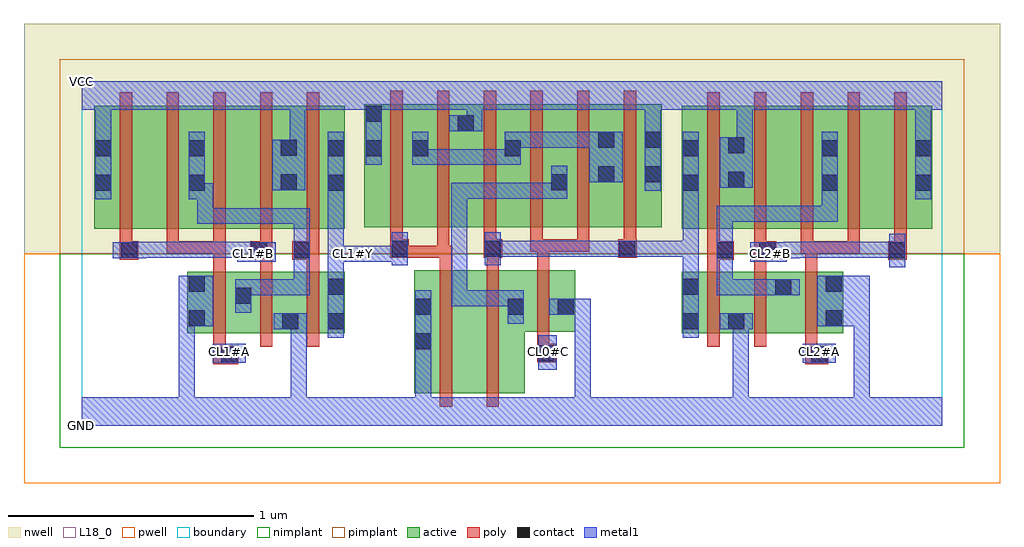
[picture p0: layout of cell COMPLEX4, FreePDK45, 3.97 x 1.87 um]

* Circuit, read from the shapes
.subckt COMPLEX4 CL0#C CL1#A CL1#B CL1#Y CL2#A CL2#B GND VCC
M1 n1 CL1#A GND VSUBS nfet w=0.25u l=0.05u
M2 GND CL1#B n1 VSUBS nfet w=0.25u l=0.05u
M3 CL1#Y n1 GND VSUBS nfet w=0.25u l=0.05u
M4 n2 CL1#Y GND VSUBS nfet w=0.5u l=0.05u
M5 n3 n4 n2 VSUBS nfet w=0.5u l=0.05u
M6 GND CL0#C n3 VSUBS nfet w=0.25u l=0.05u
M7 GND n5 n4 VSUBS nfet w=0.25u l=0.05u
M8 n5 CL2#B GND VSUBS nfet w=0.25u l=0.05u
M9 GND CL2#A n5 VSUBS nfet w=0.25u l=0.05u
M10 n6 CL1#B VCC n7 pfet w=0.5u l=0.05u
M11 n1 CL1#A n6 n7 pfet w=0.5u l=0.05u
M12 n8 CL1#A n1 n7 pfet w=0.5u l=0.05u
M13 VCC CL1#B n8 n7 pfet w=0.5u l=0.05u
M14 CL1#Y n1 VCC n7 pfet w=0.5u l=0.05u
M15 n9 CL1#Y VCC n7 pfet w=0.5u l=0.05u m=2
M16 n9 n4 VCC n7 pfet w=0.5u l=0.05u m=2
M17 n3 CL0#C n9 n7 pfet w=0.5u l=0.05u m=2
M18 VCC n5 n4 n7 pfet w=0.5u l=0.05u
M19 n10 CL2#B VCC n7 pfet w=0.5u l=0.05u
M20 n5 CL2#A n10 n7 pfet w=0.5u l=0.05u
M21 n11 CL2#A n5 n7 pfet w=0.5u l=0.05u
M22 VCC CL2#B n11 n7 pfet w=0.5u l=0.05u
.ends

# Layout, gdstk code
import gdstk
lib = gdstk.Library(unit=1e-6, precision=1e-09)
def R(c, l, rs):  # rectangles x0, y0, x1, y1
    for r in rs: c.add(gdstk.rectangle(r[:2], r[2:], *l))
def A(c, l, x, y, w, h, nx, ny, dx, dy):  # array of equal rectangles
    R(c, l, [(x+i*dx, y+j*dy, x+i*dx+w, y+j*dy+h) for i in range(nx) for j in range(ny)])
active = (1, 0)
pwell = (2, 0)
nwell = (3, 0)
nimplant = (4, 0)
pimplant = (5, 0)
poly = (9, 0)
contact = (10, 0)
metal1 = (11, 0)
L18_0 = (18, 0)
boundary = (235, 0)

complex4 = lib.new_cell('COMPLEX4')
A(complex4, active, 1.525, 0.807, 0.265, 0.5, 4, 1, 0.19, 0)
R(complex4, active, [(1.352,0.132,1.577,0.632), (1.577,0.132,1.802,0.632), (1.352,0.145,1.427,0.632), (1.727,0.2,1.802,0.632), (0.43,0.375,0.695,0.625), (0.62,0.375,0.885,0.625), (0.81,0.375,1.07,0.625), (0.995,0.375,1.07,0.625), (2.44,0.375,2.7,0.625), (2.625,0.375,2.89,0.625), (2.815,0.375,3.097,0.625), (0.81,0.382,0.885,0.497), (1.727,0.382,2.007,0.632), (1.932,0.382,2.007,0.632), (2.44,0.382,2.515,0.625), (2.625,0.382,2.7,0.497), (0.43,0.395,0.505,0.625), (0.62,0.395,0.695,0.625), (2.815,0.395,2.89,0.6), (3.022,0.395,3.097,0.625), (0.05,0.8,0.275,1.3), (0.05,0.8,0.125,1.3), (0.275,0.8,0.505,1.3), (0.43,0.8,0.655,1.3), (0.43,0.8,0.505,1.2), (0.655,0.8,0.88,1.3), (0.805,0.8,0.88,1.3), (0.805,0.8,1.07,1.3), (0.995,0.8,1.07,1.2), (2.44,0.8,2.515,1.2), (2.44,0.8,2.7,1.3), (2.625,0.8,2.7,1.3), (2.625,0.8,2.855,1.3), (2.855,0.8,3.08,1.3), (3.005,0.8,3.235,1.3), (3.005,0.8,3.08,1.2), (3.235,0.8,3.46,1.3), (3.385,0.8,3.46,1.3), (1.15,0.807,1.225,1.307), (1.15,0.807,1.415,1.307), (1.34,0.807,1.6,1.307), (1.34,0.807,1.415,1.2), (1.525,0.807,1.6,1.307), (1.715,0.807,1.79,1.2), (1.905,0.807,1.98,1.07), (2.095,0.807,2.17,1.2), (2.285,0.807,2.36,1.307)])
R(complex4, pwell, [(-0.235,-0.235,3.735,0.7)])
R(complex4, nwell, [(-0.235,0.7,3.735,1.635)])
R(complex4, nimplant, [(-0.09,-0.09,3.59,0.7)])
R(complex4, pimplant, [(-0.09,0.7,3.59,1.49)])
A(complex4, poly, 0.535, 0.32, 0.05, 0.36, 3, 1, 0.19, 0)
A(complex4, poly, 0.155, 0.7, 0.05, 0.095, 5, 1, 0.19, 0)
A(complex4, poly, 2.545, 0.7, 0.05, 0.095, 5, 1, 0.19, 0)
A(complex4, poly, 1.635, 0.707, 0.05, 0.095, 4, 1, 0.19, 0)
A(complex4, poly, 0.155, 0.745, 0.05, 0.61, 5, 1, 0.19, 0)
A(complex4, poly, 2.545, 0.745, 0.05, 0.61, 5, 1, 0.19, 0)
A(complex4, poly, 1.255, 0.752, 0.05, 0.61, 6, 1, 0.19, 0)
R(complex4, poly, [(1.457,0.077,1.507,0.687), (1.647,0.077,1.697,0.687), (0.535,0.25,0.637,0.325), (2.942,0.25,3.037,0.325), (1.852,0.257,1.927,0.332), (0.535,0.275,0.585,0.37), (2.942,0.275,2.992,0.37), (1.852,0.282,1.902,0.377), (2.545,0.32,2.595,0.68), (2.735,0.32,2.785,0.68), (2.942,0.32,2.992,0.68), (1.852,0.327,1.902,0.687), (0.535,0.63,0.585,0.75), (0.725,0.63,0.775,0.725), (0.915,0.63,0.965,0.725), (2.545,0.63,2.595,0.725), (2.735,0.63,2.785,0.725), (2.942,0.63,2.992,0.75), (1.457,0.637,1.507,0.732), (1.647,0.637,1.697,0.732), (1.852,0.637,1.902,0.757), (0.155,0.675,0.23,0.75), (0.685,0.675,0.775,0.75), (0.857,0.675,0.965,0.75), (2.545,0.675,2.652,0.75), (2.735,0.675,2.825,0.75), (3.28,0.675,3.355,0.75), (1.255,0.682,1.33,0.757), (1.28,0.682,1.495,0.732), (1.445,0.682,1.495,0.732), (1.445,0.682,1.495,0.732), (1.445,0.682,1.495,0.802), (1.445,0.682,1.507,0.732), (1.635,0.682,1.71,0.757), (2.182,0.682,2.257,0.757), (0.345,0.7,0.395,0.75), (0.345,0.7,0.585,0.75), (0.535,0.7,0.585,0.75), (0.535,0.7,0.585,0.75), (0.535,0.7,0.585,0.75), (2.925,0.7,2.992,0.75), (2.942,0.7,3.165,0.75), (3.115,0.7,3.165,0.75), (3.115,0.7,3.165,0.75), (3.115,0.7,3.165,0.75), (1.255,0.707,1.305,0.802), (1.825,0.707,1.902,0.757), (1.852,0.707,1.902,0.757), (1.852,0.707,1.902,0.757), (1.852,0.707,2.065,0.757), (2.015,0.707,2.065,0.757)])
R(complex4, contact, [(0.567,0.255,0.632,0.32), (2.967,0.255,3.032,0.32), (1.857,0.262,1.922,0.327), (1.357,0.31,1.422,0.375), (0.815,0.392,0.88,0.457), (1,0.392,1.065,0.457), (2.445,0.392,2.51,0.457), (2.63,0.392,2.695,0.457), (0.435,0.405,0.5,0.47), (3.027,0.405,3.092,0.47), (1.357,0.45,1.422,0.515), (1.732,0.45,1.797,0.515), (1.937,0.45,2.002,0.515), (0.625,0.495,0.69,0.56), (2.82,0.53,2.885,0.595), (1,0.532,1.065,0.597), (2.445,0.532,2.51,0.597), (0.435,0.545,0.5,0.61), (3.027,0.545,3.092,0.61), (0.16,0.68,0.225,0.745), (0.69,0.68,0.755,0.745), (0.862,0.68,0.927,0.745), (2.582,0.68,2.647,0.745), (2.755,0.68,2.82,0.745), (3.285,0.68,3.35,0.745), (1.26,0.687,1.325,0.752), (1.64,0.687,1.705,0.752), (2.187,0.687,2.252,0.752), (0.055,0.955,0.12,1.02), (0.435,0.955,0.5,1.02), (1,0.955,1.065,1.02), (2.445,0.955,2.51,1.02), (3.01,0.955,3.075,1.02), (3.39,0.955,3.455,1.02), (0.81,0.957,0.875,1.022), (1.91,0.957,1.975,1.022), (2.63,0.967,2.695,1.032), (2.1,0.99,2.165,1.055), (2.29,0.99,2.355,1.055), (0.055,1.095,0.12,1.16), (0.435,1.095,0.5,1.16), (1,1.095,1.065,1.16), (1.155,1.095,1.22,1.16), (1.345,1.095,1.41,1.16), (1.72,1.095,1.785,1.16), (2.445,1.095,2.51,1.16), (3.01,1.095,3.075,1.16), (3.39,1.095,3.455,1.16), (0.81,1.097,0.875,1.162), (2.63,1.107,2.695,1.172), (2.1,1.13,2.165,1.195), (2.29,1.13,2.355,1.195), (1.53,1.197,1.595,1.262), (1.155,1.235,1.22,1.3)])
R(complex4, metal1, [(0,0,3.5,0.115), (0.395,0.05,0.46,0.115), (0.395,0.05,0.46,0.115), (0.395,0.05,0.46,0.47), (0.85,0.05,0.915,0.457), (1.357,0.05,1.422,0.34), (2.005,0.05,2.07,0.115), (2.005,0.05,2.07,0.115), (2.005,0.05,2.07,0.115), (2.005,0.05,2.07,0.115), (2.005,0.05,2.07,0.115), (2.005,0.05,2.07,0.115), (2.005,0.05,2.07,0.515), (2.647,0.05,2.712,0.115), (2.647,0.05,2.712,0.115), (2.647,0.05,2.712,0.457), (3.14,0.05,3.205,0.115), (3.14,0.05,3.205,0.115), (3.14,0.05,3.205,0.115), (3.14,0.05,3.205,0.115), (3.14,0.05,3.205,0.115), (3.14,0.05,3.205,0.115), (3.14,0.05,3.205,0.47), (1.857,0.227,1.932,0.367), (0.532,0.255,0.667,0.332), (2.932,0.255,3.067,0.332), (1.357,0.275,1.422,0.55), (1.357,0.275,1.422,0.34), (1.357,0.275,1.422,0.34), (1,0.357,1.065,0.632), (2.445,0.357,2.51,0.632), (0.78,0.392,0.915,0.457), (0.85,0.392,0.915,0.457), (0.85,0.392,0.915,0.457), (0.85,0.392,0.915,0.457), (0.85,0.392,0.915,0.457), (0.85,0.392,0.915,0.457), (0.85,0.392,0.915,0.457), (2.595,0.392,2.73,0.457), (2.647,0.392,2.712,0.457), (2.647,0.392,2.712,0.457), (2.647,0.392,2.712,0.457), (2.647,0.392,2.712,0.457), (0.395,0.405,0.46,0.47), (0.395,0.405,0.46,0.47), (0.395,0.405,0.46,0.47), (0.395,0.405,0.46,0.47), (0.395,0.405,0.535,0.61), (2.992,0.405,3.205,0.61), (1.732,0.415,1.797,0.55), (1.902,0.45,2.07,0.515), (0.625,0.46,0.69,0.595), (1.502,0.485,1.567,0.55), (1.502,0.485,1.567,0.55), (1.502,0.485,1.567,0.55), (1.502,0.485,1.797,0.55), (1.502,0.485,1.567,0.987), (0.625,0.53,0.69,0.595), (0.625,0.53,0.69,0.595), (0.625,0.53,0.927,0.595), (0.862,0.53,0.927,0.595), (0.862,0.53,0.927,0.78), (2.582,0.53,2.647,0.595), (2.582,0.53,2.85,0.595), (2.582,0.53,2.647,0.71), (2.785,0.53,2.85,0.595), (2.785,0.53,2.85,0.595), (2.785,0.53,2.92,0.595), (1,0.567,1.065,0.732), (2.445,0.567,2.51,0.752), (0.862,0.645,0.927,0.78), (2.582,0.645,2.647,0.78), (2.582,0.645,2.647,0.71), (2.582,0.645,2.647,0.71), (2.582,0.645,2.647,0.895), (3.285,0.645,3.35,0.78), (1.26,0.652,1.325,0.787), (1.64,0.652,1.705,0.787), (0.632,0.667,0.79,0.745), (1,0.667,1.065,0.985), (1,0.667,1.167,0.732), (1.102,0.667,1.167,0.732), (1.102,0.667,1.167,0.732), (1.102,0.667,1.325,0.732), (2.72,0.667,2.867,0.745), (0.125,0.68,0.26,0.745), (0.195,0.68,0.26,0.745), (0.195,0.68,0.26,0.747), (0.632,0.68,0.697,0.745), (0.632,0.68,0.697,0.747), (2.802,0.68,2.92,0.745), (2.855,0.68,2.92,0.747), (0.195,0.682,0.397,0.747), (0.332,0.682,0.535,0.747), (0.332,0.682,0.397,0.747), (0.47,0.682,0.535,0.747), (0.47,0.682,0.535,0.747), (0.47,0.682,0.535,0.747), (0.47,0.682,0.697,0.747), (2.855,0.682,3.075,0.747), (3.01,0.682,3.075,0.747), (3.01,0.682,3.075,0.747), (3.01,0.682,3.075,0.747), (3.01,0.682,3.212,0.747), (3.147,0.682,3.35,0.747), (3.147,0.682,3.212,0.747), (3.147,0.682,3.212,0.747), (3.147,0.682,3.212,0.747), (1.64,0.687,1.705,0.752), (1.64,0.687,1.705,0.752), (1.64,0.687,1.922,0.752), (1.857,0.687,1.922,0.752), (1.857,0.687,1.922,0.752), (1.857,0.687,1.922,0.752), (1.857,0.687,2.07,0.752), (2.005,0.687,2.07,0.752), (2.005,0.687,2.217,0.752), (2.152,0.687,2.217,0.752), (2.152,0.687,2.217,0.752), (2.152,0.687,2.287,0.752), (2.222,0.687,2.51,0.752), (2.445,0.687,2.51,0.752), (2.445,0.687,2.51,0.752), (2.445,0.687,2.51,0.752), (2.445,0.687,2.51,0.985), (0.862,0.715,0.927,0.78), (0.862,0.715,0.927,0.78), (0.862,0.715,0.927,0.885), (0.47,0.82,0.535,0.985), (0.47,0.82,0.702,0.885), (0.637,0.82,0.702,0.885), (0.637,0.82,0.702,0.885), (0.637,0.82,0.702,0.885), (0.637,0.82,0.927,0.885), (0.862,0.82,0.927,0.885), (2.582,0.83,2.647,0.895), (2.582,0.83,2.83,0.895), (2.765,0.83,2.83,0.895), (2.765,0.83,2.83,0.895), (2.765,0.83,2.83,0.895), (2.765,0.83,3.075,0.895), (3.01,0.83,3.075,0.985), (0.055,0.92,0.12,1.195), (0.435,0.92,0.5,1.195), (0.435,0.92,0.535,0.985), (1,0.92,1.065,1.195), (2.445,0.92,2.51,1.195), (3.01,0.92,3.075,1.195), (3.01,0.92,3.075,0.985), (3.39,0.92,3.455,1.195), (1.502,0.922,1.567,0.987), (1.502,0.922,1.567,0.987), (1.502,0.922,1.567,0.987), (1.502,0.922,1.785,0.987), (1.72,0.922,1.785,0.987), (1.72,0.922,1.785,0.987), (1.72,0.922,1.785,0.987), (1.72,0.922,1.922,0.987), (1.857,0.922,1.922,0.987), (1.857,0.922,1.975,0.987), (1.91,0.922,1.975,1.057), (2.29,0.955,2.355,1.23), (0.775,0.957,0.91,1.162), (2.595,0.967,2.73,1.172), (2.065,0.99,2.2,1.195), (1.155,1.06,1.22,1.335), (1.345,1.06,1.41,1.195), (1.345,1.06,1.41,1.125), (1.345,1.06,1.41,1.125), (1.345,1.06,1.567,1.125), (1.502,1.06,1.567,1.125), (1.502,1.06,1.567,1.125), (1.502,1.06,1.567,1.125), (1.502,1.06,1.785,1.125), (1.72,1.06,1.785,1.195), (0.845,1.097,0.91,1.35), (2.665,1.107,2.73,1.35), (0.055,1.13,0.12,1.35), (1.72,1.13,1.932,1.195), (1.867,1.13,2.07,1.195), (1.867,1.13,1.932,1.195), (1.867,1.13,1.932,1.195), (1.867,1.13,1.932,1.195), (2.005,1.13,2.07,1.195), (2.005,1.13,2.13,1.195), (3.39,1.13,3.455,1.35), (2.29,1.165,2.355,1.35), (1.495,1.197,1.63,1.262), (1.565,1.197,1.63,1.35), (1.155,1.27,1.22,1.35), (0,1.285,3.5,1.4)])
R(complex4, L18_0, [(0,0,3.5,0.115), (0.395,0.05,0.46,0.115), (0.395,0.05,0.46,0.115), (0.395,0.05,0.46,0.47), (0.85,0.05,0.915,0.457), (1.357,0.05,1.422,0.34), (2.005,0.05,2.07,0.115), (2.005,0.05,2.07,0.115), (2.005,0.05,2.07,0.115), (2.005,0.05,2.07,0.115), (2.005,0.05,2.07,0.115), (2.005,0.05,2.07,0.115), (2.005,0.05,2.07,0.515), (2.647,0.05,2.712,0.115), (2.647,0.05,2.712,0.115), (2.647,0.05,2.712,0.457), (3.14,0.05,3.205,0.115), (3.14,0.05,3.205,0.115), (3.14,0.05,3.205,0.115), (3.14,0.05,3.205,0.115), (3.14,0.05,3.205,0.115), (3.14,0.05,3.205,0.115), (3.14,0.05,3.205,0.47), (1.857,0.227,1.932,0.367), (0.532,0.255,0.667,0.332), (2.932,0.255,3.067,0.332), (0.567,0.267,0.632,0.332), (1.867,0.267,1.932,0.332), (2.967,0.267,3.032,0.332), (1.357,0.275,1.422,0.55), (1.357,0.275,1.422,0.34), (1.357,0.275,1.422,0.34), (1,0.357,1.065,0.632), (0.78,0.392,0.915,0.457), (0.85,0.392,0.915,0.457), (0.85,0.392,0.915,0.457), (0.85,0.392,0.915,0.457), (0.85,0.392,0.915,0.457), (0.85,0.392,0.915,0.457), (0.85,0.392,0.915,0.457), (2.595,0.392,2.73,0.457), (2.647,0.392,2.712,0.457), (2.647,0.392,2.712,0.457), (2.647,0.392,2.712,0.457), (2.647,0.392,2.712,0.457), (0.395,0.405,0.46,0.47), (0.395,0.405,0.46,0.47), (0.395,0.405,0.46,0.47), (0.395,0.405,0.46,0.47), (0.395,0.405,0.535,0.61), (2.992,0.405,3.205,0.61), (1.902,0.45,2.07,0.515), (1,0.567,1.065,0.732), (3.285,0.645,3.35,0.78), (1.26,0.652,1.325,0.787), (0.632,0.667,0.79,0.745), (0.667,0.667,0.732,0.732), (1,0.667,1.167,0.732), (1,0.667,1.065,0.985), (1.067,0.667,1.132,0.732), (1.102,0.667,1.167,0.732), (1.102,0.667,1.167,0.732), (1.102,0.667,1.325,0.732), (2.72,0.667,2.867,0.745), (2.767,0.667,2.832,0.732), (0.125,0.68,0.26,0.745), (0.195,0.68,0.26,0.747), (0.195,0.68,0.26,0.745), (0.632,0.68,0.697,0.747), (0.632,0.68,0.697,0.745), (2.802,0.68,2.92,0.745), (2.855,0.68,2.92,0.747), (0.195,0.682,0.397,0.747), (0.332,0.682,0.397,0.747), (0.332,0.682,0.535,0.747), (0.47,0.682,0.535,0.747), (0.47,0.682,0.535,0.747), (0.47,0.682,0.535,0.747), (0.47,0.682,0.697,0.747), (2.855,0.682,3.075,0.747), (3.01,0.682,3.075,0.747), (3.01,0.682,3.075,0.747), (3.01,0.682,3.075,0.747), (3.01,0.682,3.212,0.747), (3.147,0.682,3.212,0.747), (3.147,0.682,3.212,0.747), (3.147,0.682,3.212,0.747), (3.147,0.682,3.35,0.747), (0.055,0.92,0.12,1.195), (1,0.92,1.065,1.195), (3.39,0.92,3.455,1.195), (2.29,0.955,2.355,1.23), (0.775,0.957,0.91,1.162), (2.595,0.967,2.73,1.172), (1.155,1.06,1.22,1.335), (0.845,1.097,0.91,1.35), (2.665,1.107,2.73,1.35), (0.055,1.13,0.12,1.35), (3.39,1.13,3.455,1.35), (2.29,1.165,2.355,1.35), (1.495,1.197,1.63,1.262), (1.565,1.197,1.63,1.35), (1.155,1.27,1.22,1.35), (0,1.285,3.5,1.4)])
R(complex4, boundary, [(0,0,3.5,1.4)])
complex4.add(gdstk.Label('CL0#C', (1.9,0.3), layer=11, texttype=0))
complex4.add(gdstk.Label('CL1#A', (0.6,0.3), layer=11, texttype=0))
complex4.add(gdstk.Label('CL1#B', (0.7,0.7), layer=11, texttype=0))
complex4.add(gdstk.Label('CL1#Y', (1.1,0.7), layer=11, texttype=0))
complex4.add(gdstk.Label('CL2#A', (3,0.3), layer=11, texttype=0))
complex4.add(gdstk.Label('CL2#B', (2.8,0.7), layer=11, texttype=0))
complex4.add(gdstk.Label('VCC', (0,1.4), layer=11, texttype=0))
complex4.add(gdstk.Label('GND', (0,0), layer=11, texttype=0))

lib.write_gds('COMPLEX4.gds')
